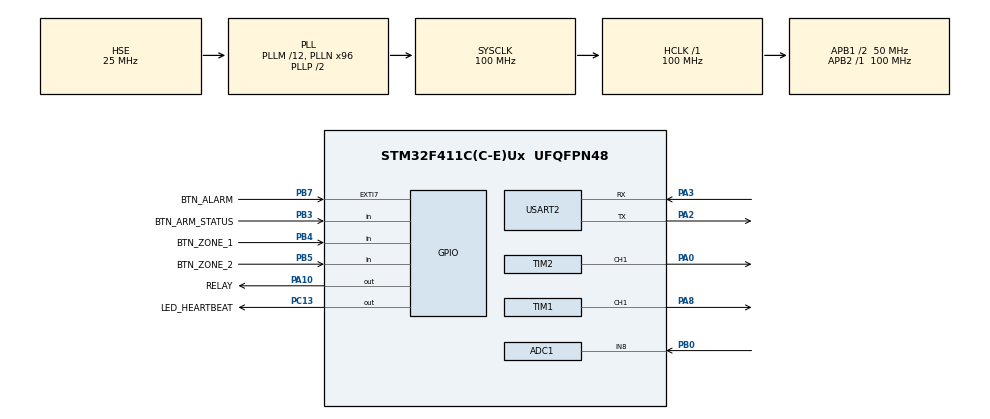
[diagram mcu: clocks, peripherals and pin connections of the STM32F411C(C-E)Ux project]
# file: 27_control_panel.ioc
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ADC1.Channel-4\#ChannelRegularConversion=ADC_CHANNEL_8
ADC1.NbrOfConversionFlag=1
ADC1.Rank-4\#ChannelRegularConversion=1
ADC1.SamplingTime-4\#ChannelRegularConversion=ADC_SAMPLETIME_3CYCLES
ADC1.master=1
Mcu.Family=STM32F4
Mcu.Name=STM32F411C(C-E)Ux
Mcu.Package=UFQFPN48
NVIC.EXTI9_5_IRQn=true\:0\:0\:false\:false\:true\:true\:true\:true
NVIC.PriorityGroup=NVIC_PRIORITYGROUP_4
PA0-WKUP.Signal=S_TIM2_CH1_ETR
PA10.GPIO_Label=RELAY
PA10.Signal=GPIO_Output
PA13.Mode=Serial_Wire
PA13.Signal=SYS_JTMS-SWDIO
PA14.Mode=Serial_Wire
PA14.Signal=SYS_JTCK-SWCLK
PA2.Mode=Asynchronous
PA2.Signal=USART2_TX
PA3.Mode=Asynchronous
PA3.Signal=USART2_RX
PA8.Signal=S_TIM1_CH1
PB0.Signal=ADCx_IN8
PB3.GPIO_Label=BTN_ARM_STATUS
PB3.GPIO_PuPd=GPIO_PULLUP
PB3.Signal=GPIO_Input
PB4.GPIO_Label=BTN_ZONE_1
PB4.GPIO_PuPd=GPIO_PULLUP
PB4.Signal=GPIO_Input
PB5.GPIO_Label=BTN_ZONE_2
PB5.GPIO_PuPd=GPIO_PULLUP
PB5.Signal=GPIO_Input
PB7.GPIO_Label=BTN_ALARM
PB7.GPIO_ModeDefaultEXTI=GPIO_MODE_IT_FALLING
PB7.GPIO_PuPd=GPIO_PULLUP
PB7.Signal=GPXTI7
PC13-ANTI_TAMP.GPIO_Label=LED_HEARTBEAT
PC13-ANTI_TAMP.Signal=GPIO_Output
PH0\ -\ OSC_IN.Mode=HSE-External-Oscillator
PH0\ -\ OSC_IN.Signal=RCC_OSC_IN
PH1\ -\ OSC_OUT.Mode=HSE-External-Oscillator
PH1\ -\ OSC_OUT.Signal=RCC_OSC_OUT
ProjectManager.HeapSize=0x200
ProjectManager.StackSize=0x400
ProjectManager.TargetToolchain=STM32CubeIDE
RCC.48MHZClocksFreq_Value=50000000
RCC.AHBFreq_Value=100000000
RCC.APB1CLKDivider=RCC_HCLK_DIV2
RCC.APB1Freq_Value=50000000
RCC.APB1TimFreq_Value=100000000
RCC.APB2Freq_Value=100000000
RCC.APB2TimFreq_Value=100000000
RCC.CortexFreq_Value=100000000
RCC.HCLKFreq_Value=100000000
RCC.HSE_VALUE=25000000
RCC.HSI_VALUE=16000000
RCC.LSE_VALUE=32768
RCC.PLLM=12
RCC.PLLN=96
RCC.PLLSourceVirtual=RCC_PLLSOURCE_HSE
RCC.SYSCLKFreq_VALUE=100000000
RCC.SYSCLKSource=RCC_SYSCLKSOURCE_PLLCLK
RCC.VCOOutputFreq_Value=200000000
SH.ADCx_IN8.0=ADC1_IN8,IN8
SH.S_TIM1_CH1.0=TIM1_CH1,PWM Generation1 CH1
SH.S_TIM2_CH1_ETR.0=TIM2_CH1,PWM Generation1 CH1
TIM1.Channel-PWM\ Generation1\ CH1=TIM_CHANNEL_1
TIM1.Period=1000
TIM1.Pulse-PWM\ Generation1\ CH1=500
TIM2.AutoReloadPreload=TIM_AUTORELOAD_PRELOAD_ENABLE
TIM2.Channel-PWM\ Generation1\ CH1=TIM_CHANNEL_1
USART2.VirtualMode=VM_ASYNC
VP_TIM1_VS_ClockSourceINT.Mode=Internal
VP_TIM2_VS_ClockSourceINT.Mode=Internal
board=custom

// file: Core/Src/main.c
/* USER CODE BEGIN Header */
/**
 ******************************************************************************
 * @file           : main.c
 * @brief          : Main program body
 ******************************************************************************
 * @attention
 *
 * Copyright (c) 2026 STMicroelectronics.
 * All rights reserved.
 *
 * This software is licensed under terms that can be found in the LICENSE file
 * in the root directory of this software component.
 * If no LICENSE file comes with this software, it is provided AS-IS.
 *
 ******************************************************************************
 */
/* USER CODE END Header */
#include "main.h"

/* USER CODE BEGIN Includes */
#include "common.h"
#include "components/led/led.h"
#include "control_panel/control_panel.h"
#include "hardware/hardware.h"
#include "stm32f4xx_hal_adc.h"
#include "stm32f4xx_hal_rcc.h"
#include "stm32f4xx_hal_tim.h"
#include "utils/log.h"

/* USER CODE END Includes */

ADC_HandleTypeDef hadc1;

TIM_HandleTypeDef htim1;
TIM_HandleTypeDef htim2;

UART_HandleTypeDef huart2;

void SystemClock_Config(void);
static void MX_GPIO_Init(void);
static void MX_ADC1_Init(void);
static void MX_TIM2_Init(void);
static void MX_USART2_UART_Init(void);
static void MX_TIM1_Init(void);

/* USER CODE BEGIN 0 */
static uint32_t g_now = 0u;

/* USER CODE END 0 */

int main(void)
{

    /* MCU Configuration--------------------------------------------------------*/

    /* Reset of all peripherals, Initializes the Flash interface and the Systick. */
    HAL_Init();

    /* Configure the system clock */
    SystemClock_Config();

    /* Initialize all configured peripherals */
    MX_GPIO_Init();
    MX_ADC1_Init();
    MX_TIM2_Init();
    MX_USART2_UART_Init();
    MX_TIM1_Init();
    /* USER CODE BEGIN 2 */
    log_init(&huart2);

    if (control_panel_init(&htim1, HAL_RCC_GetPCLK2Freq(), TIM_CHANNEL_1, &hadc1) == RESULT_ERROR)
    {
        log_write("Failed to initilize control panel");
        __builtin_trap();
    }
    /* USER CODE END 2 */

    /* Infinite loop */
    /* USER CODE BEGIN WHILE */
    log_write("Board started...");
    while (1)
    {
        g_now = hw_get_tick();
        led_heartbeat(g_now);
        control_panel_run();

        /* USER CODE END WHILE */

    }
}

void SystemClock_Config(void)
{
    RCC_OscInitTypeDef RCC_OscInitStruct = {0};
    RCC_ClkInitTypeDef RCC_ClkInitStruct = {0};

    /** Configure the main internal regulator output voltage
     */
    __HAL_RCC_PWR_CLK_ENABLE();
    __HAL_PWR_VOLTAGESCALING_CONFIG(PWR_REGULATOR_VOLTAGE_SCALE1);

    /** Initializes the RCC Oscillators according to the specified parameters
     * in the RCC_OscInitTypeDef structure.
     */
    RCC_OscInitStruct.OscillatorType = RCC_OSCILLATORTYPE_HSE;
    RCC_OscInitStruct.HSEState = RCC_HSE_ON;
    RCC_OscInitStruct.PLL.PLLState = RCC_PLL_ON;
    RCC_OscInitStruct.PLL.PLLSource = RCC_PLLSOURCE_HSE;
    RCC_OscInitStruct.PLL.PLLM = 12;
    RCC_OscInitStruct.PLL.PLLN = 96;
    RCC_OscInitStruct.PLL.PLLP = RCC_PLLP_DIV2;
    RCC_OscInitStruct.PLL.PLLQ = 4;
    if (HAL_RCC_OscConfig(&RCC_OscInitStruct) != HAL_OK)
    {
        Error_Handler();
    }

    /** Initializes the CPU, AHB and APB buses clocks
     */
    RCC_ClkInitStruct.ClockType =
        RCC_CLOCKTYPE_HCLK | RCC_CLOCKTYPE_SYSCLK | RCC_CLOCKTYPE_PCLK1 | RCC_CLOCKTYPE_PCLK2;
    RCC_ClkInitStruct.SYSCLKSource = RCC_SYSCLKSOURCE_PLLCLK;
    RCC_ClkInitStruct.AHBCLKDivider = RCC_SYSCLK_DIV1;
    RCC_ClkInitStruct.APB1CLKDivider = RCC_HCLK_DIV2;
    RCC_ClkInitStruct.APB2CLKDivider = RCC_HCLK_DIV1;

    if (HAL_RCC_ClockConfig(&RCC_ClkInitStruct, FLASH_LATENCY_3) != HAL_OK)
    {
        Error_Handler();
    }
}

static void MX_ADC1_Init(void)
{

    ADC_ChannelConfTypeDef sConfig = {0};

    /** Configure the global features of the ADC (Clock, Resolution, Data Alignment and number of
     * conversion)
     */
    hadc1.Instance = ADC1;
    hadc1.Init.ClockPrescaler = ADC_CLOCK_SYNC_PCLK_DIV4;
    hadc1.Init.Resolution = ADC_RESOLUTION_12B;
    hadc1.Init.ScanConvMode = DISABLE;
    hadc1.Init.ContinuousConvMode = DISABLE;
    hadc1.Init.DiscontinuousConvMode = DISABLE;
    hadc1.Init.ExternalTrigConvEdge = ADC_EXTERNALTRIGCONVEDGE_NONE;
    hadc1.Init.ExternalTrigConv = ADC_SOFTWARE_START;
    hadc1.Init.DataAlign = ADC_DATAALIGN_RIGHT;
    hadc1.Init.NbrOfConversion = 1;
    hadc1.Init.DMAContinuousRequests = DISABLE;
    hadc1.Init.EOCSelection = ADC_EOC_SINGLE_CONV;
    if (HAL_ADC_Init(&hadc1) != HAL_OK)
    {
        Error_Handler();
    }

    /** Configure for the selected ADC regular channel its corresponding rank in the sequencer and
     * its sample time.
     */
    sConfig.Channel = ADC_CHANNEL_8;
    sConfig.Rank = 1;
    sConfig.SamplingTime = ADC_SAMPLETIME_3CYCLES;
    if (HAL_ADC_ConfigChannel(&hadc1, &sConfig) != HAL_OK)
    {
        Error_Handler();
    }
}

static void MX_TIM1_Init(void)
{

    TIM_ClockConfigTypeDef sClockSourceConfig = {0};
    TIM_MasterConfigTypeDef sMasterConfig = {0};
    TIM_OC_InitTypeDef sConfigOC = {0};
    TIM_BreakDeadTimeConfigTypeDef sBreakDeadTimeConfig = {0};

    htim1.Instance = TIM1;
    htim1.Init.Prescaler = 0;
    htim1.Init.CounterMode = TIM_COUNTERMODE_UP;
    htim1.Init.Period = 1000;
    htim1.Init.ClockDivision = TIM_CLOCKDIVISION_DIV1;
    htim1.Init.RepetitionCounter = 0;
    htim1.Init.AutoReloadPreload = TIM_AUTORELOAD_PRELOAD_DISABLE;
    if (HAL_TIM_Base_Init(&htim1) != HAL_OK)
    {
        Error_Handler();
    }
    sClockSourceConfig.ClockSource = TIM_CLOCKSOURCE_INTERNAL;
    if (HAL_TIM_ConfigClockSource(&htim1, &sClockSourceConfig) != HAL_OK)
    {
        Error_Handler();
    }
    if (HAL_TIM_PWM_Init(&htim1) != HAL_OK)
    {
        Error_Handler();
    }
    sMasterConfig.MasterOutputTrigger = TIM_TRGO_RESET;
    sMasterConfig.MasterSlaveMode = TIM_MASTERSLAVEMODE_DISABLE;
    if (HAL_TIMEx_MasterConfigSynchronization(&htim1, &sMasterConfig) != HAL_OK)
    {
        Error_Handler();
    }
    sConfigOC.OCMode = TIM_OCMODE_PWM1;
    sConfigOC.Pulse = 500;
    sConfigOC.OCPolarity = TIM_OCPOLARITY_HIGH;
    sConfigOC.OCNPolarity = TIM_OCNPOLARITY_HIGH;
    sConfigOC.OCFastMode = TIM_OCFAST_DISABLE;
    sConfigOC.OCIdleState = TIM_OCIDLESTATE_RESET;
    sConfigOC.OCNIdleState = TIM_OCNIDLESTATE_RESET;
    if (HAL_TIM_PWM_ConfigChannel(&htim1, &sConfigOC, TIM_CHANNEL_1) != HAL_OK)
    {
        Error_Handler();
    }
    sBreakDeadTimeConfig.OffStateRunMode = TIM_OSSR_DISABLE;
    sBreakDeadTimeConfig.OffStateIDLEMode = TIM_OSSI_DISABLE;
    sBreakDeadTimeConfig.LockLevel = TIM_LOCKLEVEL_OFF;
    sBreakDeadTimeConfig.DeadTime = 0;
    sBreakDeadTimeConfig.BreakState = TIM_BREAK_DISABLE;
    sBreakDeadTimeConfig.BreakPolarity = TIM_BREAKPOLARITY_HIGH;
    sBreakDeadTimeConfig.AutomaticOutput = TIM_AUTOMATICOUTPUT_DISABLE;
    if (HAL_TIMEx_ConfigBreakDeadTime(&htim1, &sBreakDeadTimeConfig) != HAL_OK)
    {
        Error_Handler();
    }
    HAL_TIM_MspPostInit(&htim1);
}

static void MX_TIM2_Init(void)
{

    TIM_ClockConfigTypeDef sClockSourceConfig = {0};
    TIM_MasterConfigTypeDef sMasterConfig = {0};
    TIM_OC_InitTypeDef sConfigOC = {0};

    htim2.Instance = TIM2;
    htim2.Init.Prescaler = 0;
    htim2.Init.CounterMode = TIM_COUNTERMODE_UP;
    htim2.Init.Period = 4294967295;
    htim2.Init.ClockDivision = TIM_CLOCKDIVISION_DIV1;
    htim2.Init.AutoReloadPreload = TIM_AUTORELOAD_PRELOAD_ENABLE;
    if (HAL_TIM_Base_Init(&htim2) != HAL_OK)
    {
        Error_Handler();
    }
    sClockSourceConfig.ClockSource = TIM_CLOCKSOURCE_INTERNAL;
    if (HAL_TIM_ConfigClockSource(&htim2, &sClockSourceConfig) != HAL_OK)
    {
        Error_Handler();
    }
    if (HAL_TIM_PWM_Init(&htim2) != HAL_OK)
    {
        Error_Handler();
    }
    sMasterConfig.MasterOutputTrigger = TIM_TRGO_RESET;
    sMasterConfig.MasterSlaveMode = TIM_MASTERSLAVEMODE_DISABLE;
    if (HAL_TIMEx_MasterConfigSynchronization(&htim2, &sMasterConfig) != HAL_OK)
    {
        Error_Handler();
    }
    sConfigOC.OCMode = TIM_OCMODE_PWM1;
    sConfigOC.Pulse = 0;
    sConfigOC.OCPolarity = TIM_OCPOLARITY_HIGH;
    sConfigOC.OCFastMode = TIM_OCFAST_DISABLE;
    if (HAL_TIM_PWM_ConfigChannel(&htim2, &sConfigOC, TIM_CHANNEL_1) != HAL_OK)
    {
        Error_Handler();
    }
    HAL_TIM_MspPostInit(&htim2);
}

static void MX_USART2_UART_Init(void)
{

    huart2.Instance = USART2;
    huart2.Init.BaudRate = 115200;
    huart2.Init.WordLength = UART_WORDLENGTH_8B;
    huart2.Init.StopBits = UART_STOPBITS_1;
    huart2.Init.Parity = UART_PARITY_NONE;
    huart2.Init.Mode = UART_MODE_TX_RX;
    huart2.Init.HwFlowCtl = UART_HWCONTROL_NONE;
    huart2.Init.OverSampling = UART_OVERSAMPLING_16;
    if (HAL_UART_Init(&huart2) != HAL_OK)
    {
        Error_Handler();
    }
}

static void MX_GPIO_Init(void)
{
    GPIO_InitTypeDef GPIO_InitStruct = {0};

    /* GPIO Ports Clock Enable */
    __HAL_RCC_GPIOC_CLK_ENABLE();
    __HAL_RCC_GPIOH_CLK_ENABLE();
    __HAL_RCC_GPIOA_CLK_ENABLE();
    __HAL_RCC_GPIOB_CLK_ENABLE();

    /*Configure GPIO pin Output Level */
    HAL_GPIO_WritePin(LED_HEARTBEAT_GPIO_Port, LED_HEARTBEAT_Pin, GPIO_PIN_RESET);

    /*Configure GPIO pin Output Level */
    HAL_GPIO_WritePin(RELAY_GPIO_Port, RELAY_Pin, GPIO_PIN_RESET);

    /*Configure GPIO pin : LED_HEARTBEAT_Pin */
    GPIO_InitStruct.Pin = LED_HEARTBEAT_Pin;
    GPIO_InitStruct.Mode = GPIO_MODE_OUTPUT_PP;
    GPIO_InitStruct.Pull = GPIO_NOPULL;
    GPIO_InitStruct.Speed = GPIO_SPEED_FREQ_LOW;
    HAL_GPIO_Init(LED_HEARTBEAT_GPIO_Port, &GPIO_InitStruct);

    /*Configure GPIO pin : RELAY_Pin */
    GPIO_InitStruct.Pin = RELAY_Pin;
    GPIO_InitStruct.Mode = GPIO_MODE_OUTPUT_PP;
    GPIO_InitStruct.Pull = GPIO_NOPULL;
    GPIO_InitStruct.Speed = GPIO_SPEED_FREQ_LOW;
    HAL_GPIO_Init(RELAY_GPIO_Port, &GPIO_InitStruct);

    /*Configure GPIO pins : BTN_ARM_STATUS_Pin BTN_ZONE_1_Pin BTN_ZONE_2_Pin */
    GPIO_InitStruct.Pin = BTN_ARM_STATUS_Pin | BTN_ZONE_1_Pin | BTN_ZONE_2_Pin;
    GPIO_InitStruct.Mode = GPIO_MODE_INPUT;
    GPIO_InitStruct.Pull = GPIO_PULLUP;
    HAL_GPIO_Init(GPIOB, &GPIO_InitStruct);

    /*Configure GPIO pin : BTN_ALARM_Pin */
    GPIO_InitStruct.Pin = BTN_ALARM_Pin;
    GPIO_InitStruct.Mode = GPIO_MODE_IT_FALLING;
    GPIO_InitStruct.Pull = GPIO_PULLUP;
    HAL_GPIO_Init(BTN_ALARM_GPIO_Port, &GPIO_InitStruct);

    /* EXTI interrupt init*/
    HAL_NVIC_SetPriority(EXTI9_5_IRQn, 0, 0);
    HAL_NVIC_EnableIRQ(EXTI9_5_IRQn);

}

void Error_Handler(void)
{
    __disable_irq();
    while (1)
    {
    }
}
#ifdef USE_FULL_ASSERT
/**
 * @brief  Reports the name of the source file and the source line number
 *         where the assert_param error has occurred.
 * @param  file: pointer to the source file name
 * @param  line: assert_param error line source number
 * @retval None
 */
void assert_failed(uint8_t* file, uint32_t line)
{
    /* USER CODE BEGIN 6 */
    /* User can add his own implementation to report the file name and line number,
       printf("Wrong parameters value: file %s on line %d\r\n", file, line) */
    /* USER CODE END 6 */
}
#endif /* USE_FULL_ASSERT */
